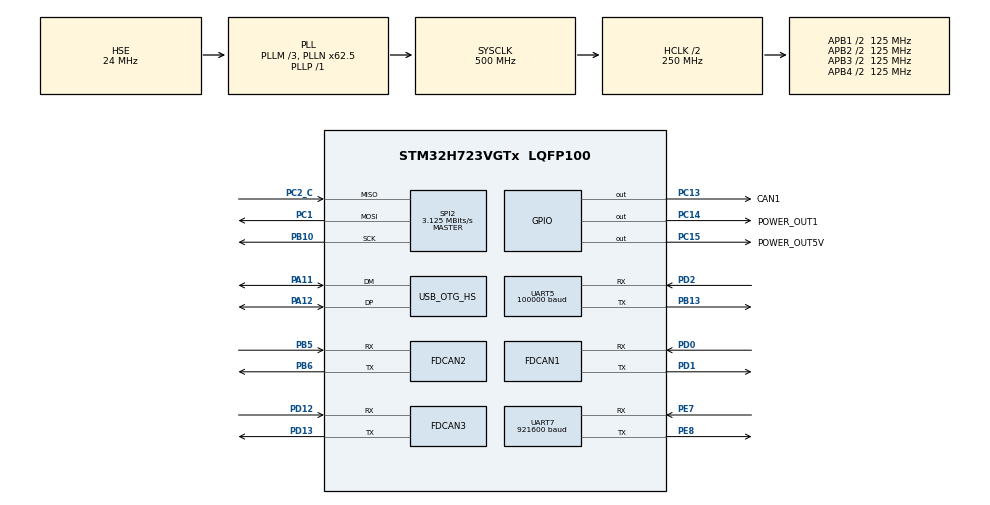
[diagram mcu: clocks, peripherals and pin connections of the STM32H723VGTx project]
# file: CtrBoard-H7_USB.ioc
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Dma.Request0=UART7_RX
Dma.Request1=UART5_RX
Dma.Request2=SPI2_RX
Dma.Request3=SPI2_TX
Dma.SPI2_RX.2.Direction=DMA_PERIPH_TO_MEMORY
Dma.SPI2_RX.2.EventEnable=DISABLE
Dma.SPI2_RX.2.FIFOMode=DMA_FIFOMODE_DISABLE
Dma.SPI2_RX.2.Instance=DMA1_Stream2
Dma.SPI2_RX.2.MemDataAlignment=DMA_MDATAALIGN_BYTE
Dma.SPI2_RX.2.MemInc=DMA_MINC_ENABLE
Dma.SPI2_RX.2.Mode=DMA_NORMAL
Dma.SPI2_RX.2.PeriphDataAlignment=DMA_PDATAALIGN_BYTE
Dma.SPI2_RX.2.PeriphInc=DMA_PINC_DISABLE
Dma.SPI2_RX.2.Polarity=HAL_DMAMUX_REQ_GEN_RISING
Dma.SPI2_RX.2.Priority=DMA_PRIORITY_VERY_HIGH
Dma.SPI2_RX.2.RequestNumber=1
Dma.SPI2_RX.2.SignalID=NONE
Dma.SPI2_RX.2.SyncEnable=DISABLE
Dma.SPI2_RX.2.SyncPolarity=HAL_DMAMUX_SYNC_NO_EVENT
Dma.SPI2_RX.2.SyncRequestNumber=1
Dma.SPI2_RX.2.SyncSignalID=NONE
Dma.SPI2_TX.3.Direction=DMA_MEMORY_TO_PERIPH
Dma.SPI2_TX.3.EventEnable=DISABLE
Dma.SPI2_TX.3.FIFOMode=DMA_FIFOMODE_DISABLE
Dma.SPI2_TX.3.Instance=DMA1_Stream3
Dma.SPI2_TX.3.MemDataAlignment=DMA_MDATAALIGN_BYTE
Dma.SPI2_TX.3.MemInc=DMA_MINC_ENABLE
Dma.SPI2_TX.3.Mode=DMA_NORMAL
Dma.SPI2_TX.3.PeriphDataAlignment=DMA_PDATAALIGN_BYTE
Dma.SPI2_TX.3.PeriphInc=DMA_PINC_DISABLE
Dma.SPI2_TX.3.Polarity=HAL_DMAMUX_REQ_GEN_RISING
Dma.SPI2_TX.3.Priority=DMA_PRIORITY_LOW
Dma.SPI2_TX.3.RequestNumber=1
Dma.SPI2_TX.3.SignalID=NONE
Dma.SPI2_TX.3.SyncEnable=DISABLE
Dma.SPI2_TX.3.SyncPolarity=HAL_DMAMUX_SYNC_NO_EVENT
Dma.SPI2_TX.3.SyncRequestNumber=1
Dma.SPI2_TX.3.SyncSignalID=NONE
Dma.UART5_RX.1.Direction=DMA_PERIPH_TO_MEMORY
Dma.UART5_RX.1.EventEnable=DISABLE
Dma.UART5_RX.1.FIFOMode=DMA_FIFOMODE_DISABLE
Dma.UART5_RX.1.Instance=DMA1_Stream1
Dma.UART5_RX.1.MemDataAlignment=DMA_MDATAALIGN_BYTE
Dma.UART5_RX.1.MemInc=DMA_MINC_ENABLE
Dma.UART5_RX.1.Mode=DMA_CIRCULAR
Dma.UART5_RX.1.PeriphDataAlignment=DMA_PDATAALIGN_BYTE
Dma.UART5_RX.1.PeriphInc=DMA_PINC_DISABLE
Dma.UART5_RX.1.Polarity=HAL_DMAMUX_REQ_GEN_RISING
Dma.UART5_RX.1.Priority=DMA_PRIORITY_LOW
Dma.UART5_RX.1.RequestNumber=1
Dma.UART5_RX.1.SignalID=NONE
Dma.UART5_RX.1.SyncEnable=DISABLE
Dma.UART5_RX.1.SyncPolarity=HAL_DMAMUX_SYNC_NO_EVENT
Dma.UART5_RX.1.SyncRequestNumber=1
Dma.UART5_RX.1.SyncSignalID=NONE
Dma.UART7_RX.0.Direction=DMA_PERIPH_TO_MEMORY
Dma.UART7_RX.0.EventEnable=DISABLE
Dma.UART7_RX.0.FIFOMode=DMA_FIFOMODE_DISABLE
Dma.UART7_RX.0.Instance=DMA1_Stream0
Dma.UART7_RX.0.MemDataAlignment=DMA_MDATAALIGN_BYTE
Dma.UART7_RX.0.MemInc=DMA_MINC_ENABLE
Dma.UART7_RX.0.Mode=DMA_NORMAL
Dma.UART7_RX.0.PeriphDataAlignment=DMA_PDATAALIGN_BYTE
Dma.UART7_RX.0.PeriphInc=DMA_PINC_DISABLE
Dma.UART7_RX.0.Polarity=HAL_DMAMUX_REQ_GEN_RISING
Dma.UART7_RX.0.Priority=DMA_PRIORITY_LOW
Dma.UART7_RX.0.RequestNumber=1
Dma.UART7_RX.0.SignalID=NONE
Dma.UART7_RX.0.SyncEnable=DISABLE
Dma.UART7_RX.0.SyncPolarity=HAL_DMAMUX_SYNC_NO_EVENT
Dma.UART7_RX.0.SyncRequestNumber=1
Dma.UART7_RX.0.SyncSignalID=NONE
FDCAN1.CalculateBaudRateNominal=1000000
FDCAN1.CalculateTimeBitNominal=1000
FDCAN1.CalculateTimeQuantumNominal=40.0
FDCAN1.DataPrescaler=4
FDCAN1.DataTimeSeg1=19
FDCAN1.DataTimeSeg2=5
FDCAN1.ExtFiltersNbr=5
FDCAN1.NominalPrescaler=4
FDCAN1.NominalTimeSeg1=19
FDCAN1.NominalTimeSeg2=5
FDCAN1.ProtocolException=ENABLE
FDCAN1.RxFifo0ElmtSize=FDCAN_DATA_BYTES_24
FDCAN1.RxFifo0ElmtsNbr=4
FDCAN1.RxFifo1ElmtSize=FDCAN_DATA_BYTES_24
FDCAN1.StdFiltersNbr=5
FDCAN1.TxElmtSize=FDCAN_DATA_BYTES_24
FDCAN1.TxFifoQueueElmtsNbr=8
FDCAN2.CalculateBaudRateNominal=1000000
FDCAN2.CalculateTimeBitNominal=1000
FDCAN2.CalculateTimeQuantumNominal=50.0
FDCAN2.DataPrescaler=5
FDCAN2.DataTimeSeg1=14
FDCAN2.ExtFiltersNbr=5
FDCAN2.MessageRAMOffset=0x356
FDCAN2.NominalPrescaler=5
FDCAN2.NominalTimeSeg1=14
FDCAN2.NominalTimeSeg2=5
FDCAN2.ProtocolException=ENABLE
FDCAN2.RxFifo0ElmtsNbr=0
FDCAN2.RxFifo1ElmtSize=FDCAN_DATA_BYTES_24
FDCAN2.RxFifo1ElmtsNbr=4
FDCAN2.StdFiltersNbr=5
FDCAN2.TxElmtSize=FDCAN_DATA_BYTES_16
FDCAN2.TxFifoQueueElmtsNbr=4
FDCAN3.CalculateBaudRateNominal=833333
FDCAN3.CalculateTimeBitNominal=1200
FDCAN3.CalculateTimeQuantumNominal=240.0
FDCAN3.MessageRAMOffset=0x812
FDCAN3.NominalPrescaler=24
FDCAN3.RxFifo0ElmtsNbr=32
FDCAN3.StdFiltersNbr=1
FDCAN3.TxFifoQueueElmtsNbr=32
FREERTOS.INCLUDE_vTaskDelayUntil=1
FREERTOS.Tasks01=defaultTask,3,128,StartDefaultTask,Default,NULL,Dynamic,NULL,NULL;imu_task,2,128,IMU_TASK,Default,NULL,Dynamic,NULL,NULL;vision_task,2,256,VISION_TASK,Default,NULL,Dynamic,NULL,NULL;system_state_ta,3,256,SYSTEM_STATE_TASK,Default,NULL,Dynamic,NULL,NULL;gimbal_task,2,256,GIMBAL_TASK,Default,NULL,Dynamic,NULL,NULL;shoot_task,2,256,SHOOT_TASK,Default,NULL,Dynamic,NULL,NULL
Mcu.Family=STM32H7
Mcu.Name=STM32H723VGTx
Mcu.Package=LQFP100
NVIC.DMA1_Stream0_IRQn=true\:5\:0\:false\:false\:true\:true\:false\:true\:true
NVIC.DMA1_Stream1_IRQn=true\:5\:0\:false\:false\:true\:true\:false\:true\:true
NVIC.DMA1_Stream2_IRQn=true\:5\:0\:false\:false\:true\:true\:false\:true\:true
NVIC.DMA1_Stream3_IRQn=true\:5\:0\:false\:false\:true\:true\:false\:true\:true
NVIC.FDCAN1_IT0_IRQn=true\:5\:0\:false\:false\:true\:true\:true\:true\:true
NVIC.FDCAN2_IT0_IRQn=true\:5\:0\:false\:false\:true\:true\:true\:true\:true
NVIC.FDCAN2_IT1_IRQn=true\:5\:0\:false\:false\:true\:true\:true\:true\:true
NVIC.FDCAN3_IT0_IRQn=true\:5\:0\:false\:false\:true\:true\:true\:true\:true
NVIC.FDCAN3_IT1_IRQn=true\:5\:0\:false\:false\:true\:true\:true\:true\:true
NVIC.OTG_HS_IRQn=true\:5\:0\:false\:false\:true\:true\:false\:true\:true
NVIC.PriorityGroup=NVIC_PRIORITYGROUP_4
NVIC.SPI2_IRQn=true\:5\:0\:false\:false\:true\:true\:false\:true\:true
NVIC.TIM23_IRQn=true\:15\:0\:false\:false\:true\:false\:false\:true\:true
NVIC.TimeBase=TIM23_IRQn
NVIC.TimeBaseIP=TIM23
NVIC.UART5_IRQn=true\:5\:0\:false\:false\:true\:true\:true\:true\:true
NVIC.UART7_IRQn=true\:5\:0\:false\:false\:true\:true\:true\:true\:true
PA11.Mode=Device_Only_FS
PA11.Signal=USB_OTG_HS_DM
PA12.Mode=Device_Only_FS
PA12.Signal=USB_OTG_HS_DP
PA13(JTMS/SWDIO).Mode=Serial_Wire
PA13(JTMS/SWDIO).Signal=DEBUG_JTMS-SWDIO
PA14(JTCK/SWCLK).Mode=Serial_Wire
PA14(JTCK/SWCLK).Signal=DEBUG_JTCK-SWCLK
PB10.Mode=Full_Duplex_Master
PB10.Signal=SPI2_SCK
PB13.Mode=Asynchronous
PB13.Signal=UART5_TX
PB5.Mode=FDCAN_Activate
PB5.Signal=FDCAN2_RX
PB6.Mode=FDCAN_Activate
PB6.Signal=FDCAN2_TX
PC1.Mode=Full_Duplex_Master
PC1.Signal=SPI2_MOSI
PC13.GPIO_Label=CAN1
PC13.PinState=GPIO_PIN_SET
PC13.Signal=GPIO_Output
PC14-OSC32_IN.GPIO_Label=POWER_OUT1
PC14-OSC32_IN.PinState=GPIO_PIN_SET
PC14-OSC32_IN.Signal=GPIO_Output
PC15-OSC32_OUT.GPIO_Label=POWER_OUT5V
PC15-OSC32_OUT.PinState=GPIO_PIN_SET
PC15-OSC32_OUT.Signal=GPIO_Output
PC2_C.Mode=Full_Duplex_Master
PC2_C.Signal=SPI2_MISO
PD0.Mode=FDCAN_Activate
PD0.Signal=FDCAN1_RX
PD1.Mode=FDCAN_Activate
PD1.Signal=FDCAN1_TX
PD12.Mode=FDCAN_Activate
PD12.Signal=FDCAN3_RX
PD13.Mode=FDCAN_Activate
PD13.Signal=FDCAN3_TX
PD2.Mode=Asynchronous
PD2.Signal=UART5_RX
PE7.Mode=Asynchronous
PE7.Signal=UART7_RX
PE8.Mode=Asynchronous
PE8.Signal=UART7_TX
PH0-OSC_IN.Mode=HSE-External-Oscillator
PH0-OSC_IN.Signal=RCC_OSC_IN
PH1-OSC_OUT.Mode=HSE-External-Oscillator
PH1-OSC_OUT.Signal=RCC_OSC_OUT
ProjectManager.HeapSize=0x200
ProjectManager.StackSize=0x400
ProjectManager.TargetToolchain=MDK-ARM V5.32
RCC.ADCFreq_Value=81789473.68421052
RCC.APB1Freq_Value=125000000
RCC.APB2Freq_Value=125000000
RCC.APB3Freq_Value=125000000
RCC.APB4Freq_Value=125000000
RCC.CortexFreq_Value=500000000
RCC.D1PPRE=RCC_APB3_DIV2
RCC.D2PPRE1=RCC_APB1_DIV2
RCC.D2PPRE2=RCC_APB2_DIV2
RCC.D3PPRE=RCC_APB4_DIV2
RCC.DIVM1=3
RCC.DIVM2=19
RCC.DIVN1=62
RCC.DIVP1=1
RCC.DIVQ1=5
RCC.HCLKFreq_Value=250000000
RCC.HPRE=RCC_HCLK_DIV2
RCC.HSE_VALUE=24000000
RCC.PLL1_VCO_SEL-AdvancedSettings=RCC_PLL1VCOMEDIUM
RCC.PLL2FRACN=4096
RCC.PLL2_VCI_Range-AdvancedSettings=RCC_PLL2VCIRANGE_0
RCC.PLL2_VCO_SEL-AdvancedSettings=RCC_PLL2VCOWIDE
RCC.PLL3FRACN=0
RCC.PLLFRACN=4096
RCC.PLLSourceVirtual=RCC_PLLSOURCE_HSE
RCC.SYSCLKFreq_VALUE=500000000
RCC.SYSCLKSource=RCC_SYSCLKSOURCE_PLLCLK
RCC.USBCLockSelection=RCC_USBCLKSOURCE_HSI48
RCC.USBFreq_Value=48000000
SPI2.BaudRatePrescaler=SPI_BAUDRATEPRESCALER_32
SPI2.CLKPhase=SPI_PHASE_2EDGE
SPI2.CLKPolarity=SPI_POLARITY_HIGH
SPI2.CalculateBaudRate=3.125 MBits/s
SPI2.DataSize=SPI_DATASIZE_8BIT
SPI2.Direction=SPI_DIRECTION_2LINES
SPI2.Mode=SPI_MODE_MASTER
SPI2.VirtualType=VM_MASTER
UART5.BaudRate=100000
UART5.StopBits=UART_STOPBITS_2
UART5.WordLength=WORDLENGTH_9B
UART7.BaudRate=921600
USB_DEVICE.APP_RX_DATA_SIZE=2048
USB_DEVICE.CLASS_NAME_HS=CDC
USB_DEVICE.VirtualMode=Cdc
USB_DEVICE.VirtualModeHS=Cdc_HS
USB_OTG_HS.VirtualMode-Device_Only_FS=Device_Only_FS
VP_FREERTOS_VS_CMSIS_V1.Mode=CMSIS_V1
VP_SYS_VS_tim23.Mode=TIM23
VP_USB_DEVICE_VS_USB_DEVICE_CDC_HS.Mode=CDC_HS
board=custom

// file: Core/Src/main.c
/* USER CODE BEGIN Header */
/**
  ******************************************************************************
  * @file           : main.c
  * @brief          : Main program body
  ******************************************************************************
  * @attention
  *
  * Copyright (c) 2024 STMicroelectronics.
  * All rights reserved.
  *
  * This software is licensed under terms that can be found in the LICENSE file
  * in the root directory of this software component.
  * If no LICENSE file comes with this software, it is provided AS-IS.
  *
  ******************************************************************************
  */
/* USER CODE END Header */
#include "main.h"
#include "cmsis_os.h"
#include "dma.h"
#include "fdcan.h"
#include "spi.h"
#include "usart.h"
#include "usb_device.h"
#include "gpio.h"

/* USER CODE BEGIN Includes */
#include "driver.h"
//#include "Device.h"
#include "vision_task.h"
#include "pid.h"

/* USER CODE END Includes */

/* USER CODE BEGIN PM */
extern struct SolveTrajectoryParams st;

/* USER CODE END PM */

void SystemClock_Config(void);
void MX_FREERTOS_Init(void);

int main(void)
{

  /* MCU Configuration--------------------------------------------------------*/

  /* Reset of all peripherals, Initializes the Flash interface and the Systick. */
  HAL_Init();

  /* Configure the system clock */
  SystemClock_Config();

  /* Initialize all configured peripherals */
  MX_GPIO_Init();
  MX_DMA_Init();
  MX_UART7_Init();
  MX_FDCAN1_Init();
  MX_FDCAN2_Init();
  MX_UART5_Init();
  MX_SPI2_Init();
  MX_FDCAN3_Init();
  /* USER CODE BEGIN 2 */
	Driver_Init();
	Motor_Init();
	Vision_Init();

	//定义参数
	st.k = 0.092f;
	st.bullet_type =  BULLET_17;
	st.current_v = 19.5;
	st.current_pitch = 0;
	st.current_yaw = 0;
	st.xw = 0;
	// st.yw = 0.0159;
	st.yw = 0;
	// st.zw = -0.2898;
	st.zw = 1.5;

	st.vxw = 0;
	st.vyw = 0;
	st.vzw = 0;
	st.v_yaw = 0;
	st.tar_yaw = 0.09131;
	st.r1 = 0.5;
	st.r2 = 0.5;
	st.dz = 0.1;
	st.bias_time = 100;
	st.s_bias = 0.19133;
	st.z_bias = 0.09265;
	st.armor_id = ARMOR_INFANTRY3;
	st.armor_num = ARMOR_NUM_NORMAL;
  /* USER CODE END 2 */

  /* Call init function for freertos objects (in cmsis_os2.c) */
  MX_FREERTOS_Init();

  /* Start scheduler */
  osKernelStart();

  /* We should never get here as control is now taken by the scheduler */

  /* Infinite loop */
  while (1)
  {

  }
}

void SystemClock_Config(void)
{
  RCC_OscInitTypeDef RCC_OscInitStruct = {0};
  RCC_ClkInitTypeDef RCC_ClkInitStruct = {0};

  /** Supply configuration update enable
  */
  HAL_PWREx_ConfigSupply(PWR_LDO_SUPPLY);

  /** Configure the main internal regulator output voltage
  */
  __HAL_PWR_VOLTAGESCALING_CONFIG(PWR_REGULATOR_VOLTAGE_SCALE0);

  while(!__HAL_PWR_GET_FLAG(PWR_FLAG_VOSRDY)) {}

  /** Initializes the RCC Oscillators according to the specified parameters
  * in the RCC_OscInitTypeDef structure.
  */
  RCC_OscInitStruct.OscillatorType = RCC_OSCILLATORTYPE_HSI48|RCC_OSCILLATORTYPE_HSE;
  RCC_OscInitStruct.HSEState = RCC_HSE_ON;
  RCC_OscInitStruct.HSI48State = RCC_HSI48_ON;
  RCC_OscInitStruct.PLL.PLLState = RCC_PLL_ON;
  RCC_OscInitStruct.PLL.PLLSource = RCC_PLLSOURCE_HSE;
  RCC_OscInitStruct.PLL.PLLM = 3;
  RCC_OscInitStruct.PLL.PLLN = 62;
  RCC_OscInitStruct.PLL.PLLP = 1;
  RCC_OscInitStruct.PLL.PLLQ = 5;
  RCC_OscInitStruct.PLL.PLLR = 2;
  RCC_OscInitStruct.PLL.PLLRGE = RCC_PLL1VCIRANGE_3;
  RCC_OscInitStruct.PLL.PLLVCOSEL = RCC_PLL1VCOWIDE;
  RCC_OscInitStruct.PLL.PLLFRACN = 4096;
  if (HAL_RCC_OscConfig(&RCC_OscInitStruct) != HAL_OK)
  {
    Error_Handler();
  }

  /** Initializes the CPU, AHB and APB buses clocks
  */
  RCC_ClkInitStruct.ClockType = RCC_CLOCKTYPE_HCLK|RCC_CLOCKTYPE_SYSCLK
                              |RCC_CLOCKTYPE_PCLK1|RCC_CLOCKTYPE_PCLK2
                              |RCC_CLOCKTYPE_D3PCLK1|RCC_CLOCKTYPE_D1PCLK1;
  RCC_ClkInitStruct.SYSCLKSource = RCC_SYSCLKSOURCE_PLLCLK;
  RCC_ClkInitStruct.SYSCLKDivider = RCC_SYSCLK_DIV1;
  RCC_ClkInitStruct.AHBCLKDivider = RCC_HCLK_DIV2;
  RCC_ClkInitStruct.APB3CLKDivider = RCC_APB3_DIV2;
  RCC_ClkInitStruct.APB1CLKDivider = RCC_APB1_DIV2;
  RCC_ClkInitStruct.APB2CLKDivider = RCC_APB2_DIV2;
  RCC_ClkInitStruct.APB4CLKDivider = RCC_APB4_DIV2;

  if (HAL_RCC_ClockConfig(&RCC_ClkInitStruct, FLASH_LATENCY_3) != HAL_OK)
  {
    Error_Handler();
  }
}

void HAL_TIM_PeriodElapsedCallback(TIM_HandleTypeDef *htim)
{
  if (htim->Instance == TIM23) {
    HAL_IncTick();
  }
}

void Error_Handler(void)
{
  __disable_irq();
  while (1)
  {
  }
}

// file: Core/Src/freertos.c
/* USER CODE BEGIN Header */
/**
  ******************************************************************************
  * File Name          : freertos.c
  * Description        : Code for freertos applications
  ******************************************************************************
  * @attention
  *
  * Copyright (c) 2024 STMicroelectronics.
  * All rights reserved.
  *
  * This software is licensed under terms that can be found in the LICENSE file
  * in the root directory of this software component.
  * If no LICENSE file comes with this software, it is provided AS-IS.
  *
  ******************************************************************************
  */
/* USER CODE END Header */

#include "FreeRTOS.h"
#include "task.h"
#include "main.h"
#include "cmsis_os.h"

/* USER CODE BEGIN Includes */
#include "vofa.h"
#include "Device.h"

/* USER CODE END Includes */

osThreadId defaultTaskHandle;
osThreadId imu_taskHandle;
osThreadId vision_taskHandle;
osThreadId system_state_taHandle;
osThreadId gimbal_taskHandle;
osThreadId shoot_taskHandle;

void StartDefaultTask(void const * argument);
void IMU_TASK(void const * argument);
void VISION_TASK(void const * argument);
void SYSTEM_STATE_TASK(void const * argument);
void GIMBAL_TASK(void const * argument);
void SHOOT_TASK(void const * argument);

extern void MX_USB_DEVICE_Init(void);
void MX_FREERTOS_Init(void); /* (MISRA C 2004 rule 8.1) */

/* GetIdleTaskMemory prototype (linked to static allocation support) */
void vApplicationGetIdleTaskMemory( StaticTask_t **ppxIdleTaskTCBBuffer, StackType_t **ppxIdleTaskStackBuffer, uint32_t *pulIdleTaskStackSize );

/* USER CODE BEGIN GET_IDLE_TASK_MEMORY */
static StaticTask_t xIdleTaskTCBBuffer;
static StackType_t xIdleStack[configMINIMAL_STACK_SIZE];

void vApplicationGetIdleTaskMemory( StaticTask_t **ppxIdleTaskTCBBuffer, StackType_t **ppxIdleTaskStackBuffer, uint32_t *pulIdleTaskStackSize )
{
  *ppxIdleTaskTCBBuffer = &xIdleTaskTCBBuffer;
  *ppxIdleTaskStackBuffer = &xIdleStack[0];
  *pulIdleTaskStackSize = configMINIMAL_STACK_SIZE;
  /* place for user code */
}
/* USER CODE END GET_IDLE_TASK_MEMORY */

void MX_FREERTOS_Init(void) {

  /* Create the thread(s) */
  /* definition and creation of defaultTask */
  osThreadDef(defaultTask, StartDefaultTask, osPriorityRealtime, 0, 128);
  defaultTaskHandle = osThreadCreate(osThread(defaultTask), NULL);

  /* definition and creation of imu_task */
  osThreadDef(imu_task, IMU_TASK, osPriorityHigh, 0, 128);
  imu_taskHandle = osThreadCreate(osThread(imu_task), NULL);

  /* definition and creation of vision_task */
  osThreadDef(vision_task, VISION_TASK, osPriorityHigh, 0, 256);
  vision_taskHandle = osThreadCreate(osThread(vision_task), NULL);

  /* definition and creation of system_state_ta */
  osThreadDef(system_state_ta, SYSTEM_STATE_TASK, osPriorityRealtime, 0, 256);
  system_state_taHandle = osThreadCreate(osThread(system_state_ta), NULL);

  /* definition and creation of gimbal_task */
  osThreadDef(gimbal_task, GIMBAL_TASK, osPriorityHigh, 0, 256);
  gimbal_taskHandle = osThreadCreate(osThread(gimbal_task), NULL);

  /* definition and creation of shoot_task */
  osThreadDef(shoot_task, SHOOT_TASK, osPriorityHigh, 0, 256);
  shoot_taskHandle = osThreadCreate(osThread(shoot_task), NULL);

}

void StartDefaultTask(void const * argument)
{
  /* init code for USB_DEVICE */
  MX_USB_DEVICE_Init();
  for(;;)
  {
    osDelay(1);
  }
}

void IMU_TASK(void const * argument)
{
  /* USER CODE BEGIN IMU_TASK */
  /* Infinite loop */
	uint32_t currentTime;
  for(;;)
  {
		currentTime = xTaskGetTickCount();//当前系统时间
		IMU_get();
		vTaskDelayUntil(&currentTime, 1);//绝对延时
	}
  /* USER CODE END IMU_TASK */
}

void VISION_TASK(void const * argument)
{
  /* USER CODE BEGIN VISION_TASK */
  /* Infinite loop */
	uint32_t currentTime;
  for(;;)
  {
		currentTime = xTaskGetTickCount();
		Visual_Task();
		vTaskDelayUntil(&currentTime, 2);//绝对延时
  }
  /* USER CODE END VISION_TASK */
}

void SYSTEM_STATE_TASK(void const * argument)
{
  /* USER CODE BEGIN SYSTEM_STATE_TASK */
  /* Infinite loop */
  uint32_t currentTime;
  for(;;)
  {
    currentTime = xTaskGetTickCount();//当前系统时间
		System_Task();
    vTaskDelayUntil(&currentTime, 2);//绝对延时
  }
  /* USER CODE END SYSTEM_STATE_TASK */
}

void GIMBAL_TASK(void const * argument)
{
  /* USER CODE BEGIN GIMBAL_TASK */
  /* Infinite loop */
	uint32_t currentTime;
  for(;;)
  {
		currentTime = xTaskGetTickCount();//当前系统时间
		Gimbal_Task();
    vTaskDelayUntil(&currentTime, 3);//绝对延时
	}
  /* USER CODE END GIMBAL_TASK */
}

void SHOOT_TASK(void const * argument)
{
  /* USER CODE BEGIN SHOOT_TASK */
  /* Infinite loop */
	uint32_t currentTime;
  for(;;)
  {
		currentTime = xTaskGetTickCount();
		Shoot_Task();
		vTaskDelayUntil(&currentTime, 3);//绝对延时
  }
  /* USER CODE END SHOOT_TASK */
}
